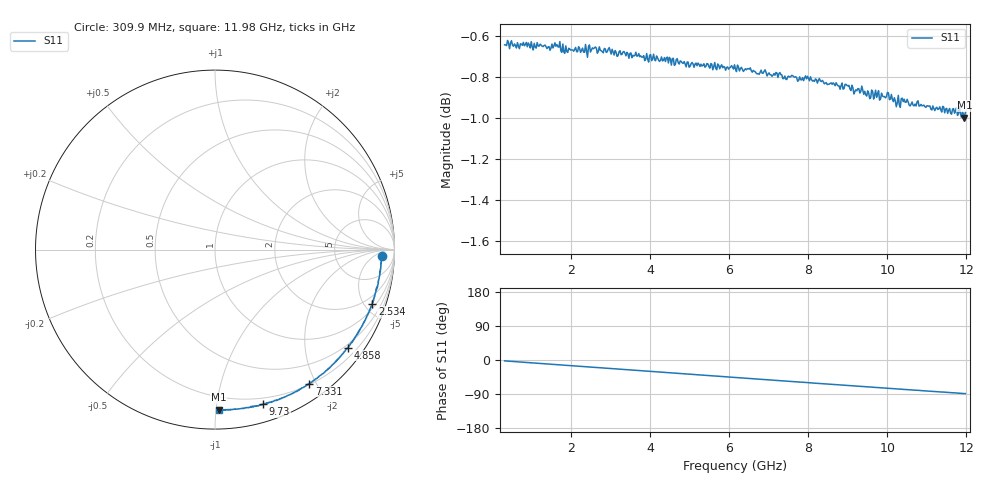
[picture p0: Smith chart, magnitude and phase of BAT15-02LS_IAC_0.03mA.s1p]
! Infineon Technologies  Discrete & RF Semiconductors
! BAT15-02ELS
! IAC = 0.03 mA
! One-Port S-Parameters
# Hz  S  MA  R  50
!f  S11
!Hz  Mag  Ang
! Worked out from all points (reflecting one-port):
!   468 points, 309.9 MHz to 11.98 GHz, reference 50 ohm
!   lowest |S11| = -1.0 dB at 11.95 GHz (marker M1), VSWR 17.43, Z = 5.85 - j50.8 ohm
!   phase of S11 starts at -2 deg and turns -86 deg over the sweep
!   S11 on the Smith chart (normalised r, x): 309.9 MHz: 21, -11; 2.534 GHz: 1.32, -5.66; 4.858 GHz: 0.42, -2.99; 7.331 GHz: 0.21, -1.91; 9.73 GHz: 0.15, -1.35; 11.98 GHz: 0.11, -1.02
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3.0985e8  0.9285 -2.3
8.096e8  0.928 -6.0
1.184412e9  0.9278 -8.9
1.6092e9  0.9278 -12.1
1.784112e9  0.9289 -13.4
2.233888e9  0.9246 -16.7
2.533738e9  0.9269 -19.0
3.233388e9  0.9255 -24.2
4.032988e9  0.9203 -30.3
4.70765e9  0.9192 -35.4
4.857575e9  0.9198 -36.4
5.757125e9  0.9161 -43.2
6.156925e9  0.9159 -46.2
6.631688e9  0.9149 -49.7
6.856575e9  0.9139 -51.3
7.331338e9  0.913 -54.8
7.4063e9  0.9124 -55.4
7.6062e9  0.9126 -56.8
7.781112e9  0.912 -58.2
7.956025e9  0.911 -59.4
8.230888e9  0.9088 -61.6
9.080462e9  0.905 -67.8
9.730138e9  0.9016 -72.7
1.052974e10  0.8993 -78.3
1.137931e10  0.8942 -84.5
1.190405e10  0.8943 -88.1
1.195402e10  0.8915 -88.7
1.197901e10  0.8942 -88.6
